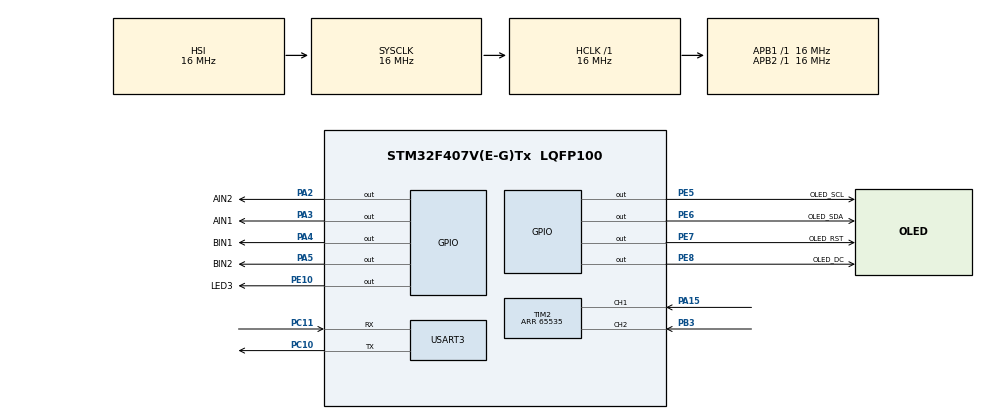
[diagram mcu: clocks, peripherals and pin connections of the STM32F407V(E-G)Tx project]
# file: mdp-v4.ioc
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FREERTOS.Tasks01=defaultTask,24,128,StartDefaultTask,Default,NULL,Dynamic,NULL,NULL;DisplayTask,8,128,Display,Default,NULL,Dynamic,NULL,NULL;Motor_L,8,128,LeftMotor,Default,NULL,Dynamic,NULL,NULL;Motor_R,8,128,RightMotor,Default,NULL,Dynamic,NULL,NULL;EncoderTask,8,128,EncoderL,Default,NULL,Dynamic,NULL,NULL
Mcu.Family=STM32F4
Mcu.Name=STM32F407V(E-G)Tx
Mcu.Package=LQFP100
NVIC.PriorityGroup=NVIC_PRIORITYGROUP_4
NVIC.USART3_IRQn=true\:5\:0\:false\:false\:true\:true\:true\:true\:true
PA15.Signal=S_TIM2_CH1_ETR
PA2.GPIO_Label=AIN2
PA2.Signal=GPIO_Output
PA3.GPIO_Label=AIN1
PA3.Signal=GPIO_Output
PA4.GPIO_Label=BIN1
PA4.Signal=GPIO_Output
PA5.GPIO_Label=BIN2
PA5.Signal=GPIO_Output
PB3.Signal=S_TIM2_CH2
PC10.Mode=Asynchronous
PC10.Signal=USART3_TX
PC11.Mode=Asynchronous
PC11.Signal=USART3_RX
PC6.GPIO_Label=PWMA
PC6.Signal=S_TIM8_CH1
PC7.GPIO_Label=PWMB
PC7.Signal=S_TIM8_CH2
PE10.GPIO_Label=LED3
PE10.Signal=GPIO_Output
PE14.GPIO_Label=Servo
PE14.Signal=S_TIM1_CH4
PE5.GPIO_Label=OLED_SCL
PE5.Signal=GPIO_Output
PE6.GPIO_Label=OLED_SDA
PE6.Signal=GPIO_Output
PE7.GPIO_Label=OLED_RST
PE7.Signal=GPIO_Output
PE8.GPIO_Label=OLED_DC
PE8.Signal=GPIO_Output
ProjectManager.HeapSize=0x200
ProjectManager.StackSize=0x400
ProjectManager.TargetToolchain=STM32CubeIDE
RCC.AHBFreq_Value=16000000
RCC.APB1Freq_Value=16000000
RCC.APB2Freq_Value=16000000
RCC.CortexFreq_Value=16000000
RCC.HSE_VALUE=25000000
RCC.HSI_VALUE=16000000
RCC.LSE_VALUE=32768
RCC.SYSCLKFreq_VALUE=16000000
RCC.VCOOutputFreq_Value=192000000
SH.S_TIM1_CH4.0=TIM1_CH4
SH.S_TIM2_CH1_ETR.0=TIM2_CH1,Encoder_Interface
SH.S_TIM2_CH2.0=TIM2_CH2,Encoder_Interface
SH.S_TIM8_CH1.0=TIM8_CH1
SH.S_TIM8_CH2.0=TIM8_CH2
TIM1.Channel-PWM\ Generation4\ No\ Output=TIM_CHANNEL_4
TIM1.Period=1000
TIM1.Prescaler=160
TIM2.EncoderMode=TIM_ENCODERMODE_TI12
TIM2.IC1Filter=10
TIM2.IC2Filter=10
TIM2.Period=65535
TIM8.Channel-PWM\ Generation1\ No\ Output=TIM_CHANNEL_1
TIM8.Channel-PWM\ Generation2\ No\ Output=TIM_CHANNEL_2
TIM8.Period=7199
USART3.VirtualMode=VM_ASYNC
VP_FREERTOS_VS_CMSIS_V2.Mode=CMSIS_V2
VP_TIM1_VS_ClockSourceINT.Mode=Internal
VP_TIM1_VS_no_output4.Mode=PWM Generation4 No Output
VP_TIM8_VS_ClockSourceINT.Mode=Internal
VP_TIM8_VS_no_output1.Mode=PWM Generation1 No Output
VP_TIM8_VS_no_output2.Mode=PWM Generation2 No Output
board=custom

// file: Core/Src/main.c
/* USER CODE BEGIN Header */
/**
  ******************************************************************************
  * @file           : main.c
  * @brief          : Main program body
  ******************************************************************************
  * @attention
  *
  * Copyright (c) 2022 STMicroelectronics.
  * All rights reserved.
  *
  * This software is licensed under terms that can be found in the LICENSE file
  * in the root directory of this software component.
  * If no LICENSE file comes with this software, it is provided AS-IS.
  *
  ******************************************************************************
  */
/* USER CODE END Header */
#include "main.h"
#include "cmsis_os.h"

/* USER CODE BEGIN Includes */
#include "oled.h"
/* USER CODE END Includes */

TIM_HandleTypeDef htim1;
TIM_HandleTypeDef htim2;
TIM_HandleTypeDef htim8;

UART_HandleTypeDef huart3;

/* Definitions for defaultTask */
osThreadId_t defaultTaskHandle;
const osThreadAttr_t defaultTask_attributes = {
  .name = "defaultTask",
  .stack_size = 128 * 4,
  .priority = (osPriority_t) osPriorityNormal,
};
/* Definitions for DisplayTask */
osThreadId_t DisplayTaskHandle;
const osThreadAttr_t DisplayTask_attributes = {
  .name = "DisplayTask",
  .stack_size = 128 * 4,
  .priority = (osPriority_t) osPriorityLow,
};
/* Definitions for Motor_L */
osThreadId_t Motor_LHandle;
const osThreadAttr_t Motor_L_attributes = {
  .name = "Motor_L",
  .stack_size = 128 * 4,
  .priority = (osPriority_t) osPriorityLow,
};
/* Definitions for Motor_R */
osThreadId_t Motor_RHandle;
const osThreadAttr_t Motor_R_attributes = {
  .name = "Motor_R",
  .stack_size = 128 * 4,
  .priority = (osPriority_t) osPriorityLow,
};
/* Definitions for EncoderTask */
osThreadId_t EncoderTaskHandle;
const osThreadAttr_t EncoderTask_attributes = {
  .name = "EncoderTask",
  .stack_size = 128 * 4,
  .priority = (osPriority_t) osPriorityLow,
};

void SystemClock_Config(void);
static void MX_GPIO_Init(void);
static void MX_TIM8_Init(void);
static void MX_TIM2_Init(void);
static void MX_TIM1_Init(void);
static void MX_USART3_UART_Init(void);
void StartDefaultTask(void *argument);
void Display(void *argument);
void LeftMotor(void *argument);
void RightMotor(void *argument);
void EncoderL(void *argument);

/* USER CODE BEGIN 0 */
uint8_t Buffer[5];

/* USER CODE END 0 */

int main(void)
{

  /* MCU Configuration--------------------------------------------------------*/

  /* Reset of all peripherals, Initializes the Flash interface and the Systick. */
  HAL_Init();

  /* Configure the system clock */
  SystemClock_Config();

  /* Initialize all configured peripherals */
  MX_GPIO_Init();
  MX_TIM8_Init();
  MX_TIM2_Init();
  MX_TIM1_Init();
  MX_USART3_UART_Init();
  /* USER CODE BEGIN 2 */
  OLED_Init();
  /* USER CODE END 2 */

  /* Init scheduler */
  osKernelInitialize();

  /* Create the thread(s) */
  /* creation of defaultTask */
  defaultTaskHandle = osThreadNew(StartDefaultTask, NULL, &defaultTask_attributes);

  /* creation of DisplayTask */
  DisplayTaskHandle = osThreadNew(Display, NULL, &DisplayTask_attributes);

  /* creation of Motor_L */
  Motor_LHandle = osThreadNew(LeftMotor, NULL, &Motor_L_attributes);

  /* creation of Motor_R */
  Motor_RHandle = osThreadNew(RightMotor, NULL, &Motor_R_attributes);

  /* creation of EncoderTask */
  EncoderTaskHandle = osThreadNew(EncoderL, NULL, &EncoderTask_attributes);

  /* Start scheduler */
  osKernelStart();

  /* We should never get here as control is now taken by the scheduler */
  /* Infinite loop */
  while (1)
  {

  }
}

void SystemClock_Config(void)
{
  RCC_OscInitTypeDef RCC_OscInitStruct = {0};
  RCC_ClkInitTypeDef RCC_ClkInitStruct = {0};

  /** Configure the main internal regulator output voltage
  */
  __HAL_RCC_PWR_CLK_ENABLE();
  __HAL_PWR_VOLTAGESCALING_CONFIG(PWR_REGULATOR_VOLTAGE_SCALE1);
  /** Initializes the RCC Oscillators according to the specified parameters
  * in the RCC_OscInitTypeDef structure.
  */
  RCC_OscInitStruct.OscillatorType = RCC_OSCILLATORTYPE_HSI;
  RCC_OscInitStruct.HSIState = RCC_HSI_ON;
  RCC_OscInitStruct.HSICalibrationValue = RCC_HSICALIBRATION_DEFAULT;
  RCC_OscInitStruct.PLL.PLLState = RCC_PLL_NONE;
  if (HAL_RCC_OscConfig(&RCC_OscInitStruct) != HAL_OK)
  {
    Error_Handler();
  }
  /** Initializes the CPU, AHB and APB buses clocks
  */
  RCC_ClkInitStruct.ClockType = RCC_CLOCKTYPE_HCLK|RCC_CLOCKTYPE_SYSCLK
                              |RCC_CLOCKTYPE_PCLK1|RCC_CLOCKTYPE_PCLK2;
  RCC_ClkInitStruct.SYSCLKSource = RCC_SYSCLKSOURCE_HSI;
  RCC_ClkInitStruct.AHBCLKDivider = RCC_SYSCLK_DIV1;
  RCC_ClkInitStruct.APB1CLKDivider = RCC_HCLK_DIV1;
  RCC_ClkInitStruct.APB2CLKDivider = RCC_HCLK_DIV1;

  if (HAL_RCC_ClockConfig(&RCC_ClkInitStruct, FLASH_LATENCY_0) != HAL_OK)
  {
    Error_Handler();
  }
}

static void MX_TIM1_Init(void)
{

  TIM_ClockConfigTypeDef sClockSourceConfig = {0};
  TIM_MasterConfigTypeDef sMasterConfig = {0};
  TIM_OC_InitTypeDef sConfigOC = {0};
  TIM_BreakDeadTimeConfigTypeDef sBreakDeadTimeConfig = {0};

  htim1.Instance = TIM1;
  htim1.Init.Prescaler = 160;
  htim1.Init.CounterMode = TIM_COUNTERMODE_UP;
  htim1.Init.Period = 1000;
  htim1.Init.ClockDivision = TIM_CLOCKDIVISION_DIV1;
  htim1.Init.RepetitionCounter = 0;
  htim1.Init.AutoReloadPreload = TIM_AUTORELOAD_PRELOAD_DISABLE;
  if (HAL_TIM_Base_Init(&htim1) != HAL_OK)
  {
    Error_Handler();
  }
  sClockSourceConfig.ClockSource = TIM_CLOCKSOURCE_INTERNAL;
  if (HAL_TIM_ConfigClockSource(&htim1, &sClockSourceConfig) != HAL_OK)
  {
    Error_Handler();
  }
  if (HAL_TIM_PWM_Init(&htim1) != HAL_OK)
  {
    Error_Handler();
  }
  sMasterConfig.MasterOutputTrigger = TIM_TRGO_RESET;
  sMasterConfig.MasterSlaveMode = TIM_MASTERSLAVEMODE_DISABLE;
  if (HAL_TIMEx_MasterConfigSynchronization(&htim1, &sMasterConfig) != HAL_OK)
  {
    Error_Handler();
  }
  sConfigOC.OCMode = TIM_OCMODE_PWM1;
  sConfigOC.Pulse = 0;
  sConfigOC.OCPolarity = TIM_OCPOLARITY_HIGH;
  sConfigOC.OCFastMode = TIM_OCFAST_DISABLE;
  sConfigOC.OCIdleState = TIM_OCIDLESTATE_RESET;
  sConfigOC.OCNIdleState = TIM_OCNIDLESTATE_RESET;
  if (HAL_TIM_PWM_ConfigChannel(&htim1, &sConfigOC, TIM_CHANNEL_4) != HAL_OK)
  {
    Error_Handler();
  }
  sBreakDeadTimeConfig.OffStateRunMode = TIM_OSSR_DISABLE;
  sBreakDeadTimeConfig.OffStateIDLEMode = TIM_OSSI_DISABLE;
  sBreakDeadTimeConfig.LockLevel = TIM_LOCKLEVEL_OFF;
  sBreakDeadTimeConfig.DeadTime = 0;
  sBreakDeadTimeConfig.BreakState = TIM_BREAK_DISABLE;
  sBreakDeadTimeConfig.BreakPolarity = TIM_BREAKPOLARITY_HIGH;
  sBreakDeadTimeConfig.AutomaticOutput = TIM_AUTOMATICOUTPUT_DISABLE;
  if (HAL_TIMEx_ConfigBreakDeadTime(&htim1, &sBreakDeadTimeConfig) != HAL_OK)
  {
    Error_Handler();
  }

}

static void MX_TIM2_Init(void)
{

  TIM_Encoder_InitTypeDef sConfig = {0};
  TIM_MasterConfigTypeDef sMasterConfig = {0};

  htim2.Instance = TIM2;
  htim2.Init.Prescaler = 0;
  htim2.Init.CounterMode = TIM_COUNTERMODE_UP;
  htim2.Init.Period = 65535;
  htim2.Init.ClockDivision = TIM_CLOCKDIVISION_DIV1;
  htim2.Init.AutoReloadPreload = TIM_AUTORELOAD_PRELOAD_DISABLE;
  sConfig.EncoderMode = TIM_ENCODERMODE_TI12;
  sConfig.IC1Polarity = TIM_ICPOLARITY_RISING;
  sConfig.IC1Selection = TIM_ICSELECTION_DIRECTTI;
  sConfig.IC1Prescaler = TIM_ICPSC_DIV1;
  sConfig.IC1Filter = 10;
  sConfig.IC2Polarity = TIM_ICPOLARITY_RISING;
  sConfig.IC2Selection = TIM_ICSELECTION_DIRECTTI;
  sConfig.IC2Prescaler = TIM_ICPSC_DIV1;
  sConfig.IC2Filter = 10;
  if (HAL_TIM_Encoder_Init(&htim2, &sConfig) != HAL_OK)
  {
    Error_Handler();
  }
  sMasterConfig.MasterOutputTrigger = TIM_TRGO_RESET;
  sMasterConfig.MasterSlaveMode = TIM_MASTERSLAVEMODE_DISABLE;
  if (HAL_TIMEx_MasterConfigSynchronization(&htim2, &sMasterConfig) != HAL_OK)
  {
    Error_Handler();
  }

}

static void MX_TIM8_Init(void)
{

  TIM_ClockConfigTypeDef sClockSourceConfig = {0};
  TIM_MasterConfigTypeDef sMasterConfig = {0};
  TIM_OC_InitTypeDef sConfigOC = {0};
  TIM_BreakDeadTimeConfigTypeDef sBreakDeadTimeConfig = {0};

  htim8.Instance = TIM8;
  htim8.Init.Prescaler = 0;
  htim8.Init.CounterMode = TIM_COUNTERMODE_UP;
  htim8.Init.Period = 7199;
  htim8.Init.ClockDivision = TIM_CLOCKDIVISION_DIV1;
  htim8.Init.RepetitionCounter = 0;
  htim8.Init.AutoReloadPreload = TIM_AUTORELOAD_PRELOAD_DISABLE;
  if (HAL_TIM_Base_Init(&htim8) != HAL_OK)
  {
    Error_Handler();
  }
  sClockSourceConfig.ClockSource = TIM_CLOCKSOURCE_INTERNAL;
  if (HAL_TIM_ConfigClockSource(&htim8, &sClockSourceConfig) != HAL_OK)
  {
    Error_Handler();
  }
  if (HAL_TIM_PWM_Init(&htim8) != HAL_OK)
  {
    Error_Handler();
  }
  sMasterConfig.MasterOutputTrigger = TIM_TRGO_RESET;
  sMasterConfig.MasterSlaveMode = TIM_MASTERSLAVEMODE_DISABLE;
  if (HAL_TIMEx_MasterConfigSynchronization(&htim8, &sMasterConfig) != HAL_OK)
  {
    Error_Handler();
  }
  sConfigOC.OCMode = TIM_OCMODE_PWM1;
  sConfigOC.Pulse = 0;
  sConfigOC.OCPolarity = TIM_OCPOLARITY_HIGH;
  sConfigOC.OCNPolarity = TIM_OCNPOLARITY_HIGH;
  sConfigOC.OCFastMode = TIM_OCFAST_DISABLE;
  sConfigOC.OCIdleState = TIM_OCIDLESTATE_RESET;
  sConfigOC.OCNIdleState = TIM_OCNIDLESTATE_RESET;
  if (HAL_TIM_PWM_ConfigChannel(&htim8, &sConfigOC, TIM_CHANNEL_1) != HAL_OK)
  {
    Error_Handler();
  }
  if (HAL_TIM_PWM_ConfigChannel(&htim8, &sConfigOC, TIM_CHANNEL_2) != HAL_OK)
  {
    Error_Handler();
  }
  sBreakDeadTimeConfig.OffStateRunMode = TIM_OSSR_DISABLE;
  sBreakDeadTimeConfig.OffStateIDLEMode = TIM_OSSI_DISABLE;
  sBreakDeadTimeConfig.LockLevel = TIM_LOCKLEVEL_OFF;
  sBreakDeadTimeConfig.DeadTime = 0;
  sBreakDeadTimeConfig.BreakState = TIM_BREAK_DISABLE;
  sBreakDeadTimeConfig.BreakPolarity = TIM_BREAKPOLARITY_HIGH;
  sBreakDeadTimeConfig.AutomaticOutput = TIM_AUTOMATICOUTPUT_DISABLE;
  if (HAL_TIMEx_ConfigBreakDeadTime(&htim8, &sBreakDeadTimeConfig) != HAL_OK)
  {
    Error_Handler();
  }

}

static void MX_USART3_UART_Init(void)
{

  huart3.Instance = USART3;
  huart3.Init.BaudRate = 115200;
  huart3.Init.WordLength = UART_WORDLENGTH_8B;
  huart3.Init.StopBits = UART_STOPBITS_1;
  huart3.Init.Parity = UART_PARITY_NONE;
  huart3.Init.Mode = UART_MODE_TX_RX;
  huart3.Init.HwFlowCtl = UART_HWCONTROL_NONE;
  huart3.Init.OverSampling = UART_OVERSAMPLING_16;
  if (HAL_UART_Init(&huart3) != HAL_OK)
  {
    Error_Handler();
  }

}

static void MX_GPIO_Init(void)
{
  GPIO_InitTypeDef GPIO_InitStruct = {0};

  /* GPIO Ports Clock Enable */
  __HAL_RCC_GPIOE_CLK_ENABLE();
  __HAL_RCC_GPIOA_CLK_ENABLE();
  __HAL_RCC_GPIOC_CLK_ENABLE();
  __HAL_RCC_GPIOB_CLK_ENABLE();

  /*Configure GPIO pin Output Level */
  HAL_GPIO_WritePin(GPIOE, OLED_SCL_Pin|OLED_SDA_Pin|OLED_RST_Pin|OLED_DC_Pin
                          |LED3_Pin, GPIO_PIN_RESET);

  /*Configure GPIO pin Output Level */
  HAL_GPIO_WritePin(GPIOA, AIN2_Pin|AIN1_Pin|BIN1_Pin|BIN2_Pin, GPIO_PIN_RESET);

  /*Configure GPIO pins : OLED_SCL_Pin OLED_SDA_Pin OLED_RST_Pin OLED_DC_Pin
                           LED3_Pin */
  GPIO_InitStruct.Pin = OLED_SCL_Pin|OLED_SDA_Pin|OLED_RST_Pin|OLED_DC_Pin
                          |LED3_Pin;
  GPIO_InitStruct.Mode = GPIO_MODE_OUTPUT_PP;
  GPIO_InitStruct.Pull = GPIO_NOPULL;
  GPIO_InitStruct.Speed = GPIO_SPEED_FREQ_LOW;
  HAL_GPIO_Init(GPIOE, &GPIO_InitStruct);

  /*Configure GPIO pins : AIN2_Pin AIN1_Pin BIN1_Pin BIN2_Pin */
  GPIO_InitStruct.Pin = AIN2_Pin|AIN1_Pin|BIN1_Pin|BIN2_Pin;
  GPIO_InitStruct.Mode = GPIO_MODE_OUTPUT_PP;
  GPIO_InitStruct.Pull = GPIO_NOPULL;
  GPIO_InitStruct.Speed = GPIO_SPEED_FREQ_LOW;
  HAL_GPIO_Init(GPIOA, &GPIO_InitStruct);

}

void StartDefaultTask(void *argument)
{
  /* USER CODE BEGIN 5 */
  uint8_t hello[20];
  /* Infinite loop */
  for(;;)
  {
	HAL_UART_Receive_IT(&huart3,(uint8_t *) Buffer,5);
	sprintf(hello, "buff:%s", Buffer);
	OLED_ShowString(10,20,hello);
	HAL_GPIO_TogglePin(LED3_GPIO_Port,LED3_Pin);
    osDelay(1);
  }
  /* USER CODE END 5 */
}

void Display(void *argument)
{
  /* USER CODE BEGIN Display */
  uint8_t hello[20] = "test1!\0";
  /* Infinite loop */
  for(;;)
  {
	OLED_ShowString(10,10,hello);
	OLED_Refresh_Gram();
    osDelay(1);
  }
  /* USER CODE END Display */
}

void LeftMotor(void *argument)
{
  /* USER CODE BEGIN LeftMotor */
  uint16_t pwmVal = 1500, pwmVal_S = 1500, pwmVal_L = 1500;
  HAL_TIM_PWM_Start(&htim8,TIM_CHANNEL_1);
  HAL_TIM_PWM_Start(&htim8,TIM_CHANNEL_2);
  HAL_TIM_PWM_Start(&htim1,TIM_CHANNEL_4);
  HAL_TIM_Encoder_Start(&htim2, TIM_CHANNEL_ALL);

  int cnt1, cnt2, pulse;
  uint32_t tick, dist, angle, pulseneeded, pulsetotal;
  uint8_t hello[20];

  cnt1 = __HAL_TIM_GET_COUNTER(&htim2);
  tick = HAL_GetTick();
  dist = 30;
  angle = 45;

  int value;
  /* Infinite loop */
  for(;;){
	  value = (Buffer[2] - '0')*100 + (Buffer[3] - '0')*10 + Buffer[2] - '0';
	  dist = value;
	  angle = value;
	  if(Buffer[0] == 'F'){
		  HAL_GPIO_WritePin(GPIOA, AIN2_Pin, GPIO_PIN_RESET);
		  HAL_GPIO_WritePin(GPIOA, AIN1_Pin, GPIO_PIN_SET);
		  HAL_GPIO_WritePin(GPIOA, BIN2_Pin, GPIO_PIN_RESET);
		  HAL_GPIO_WritePin(GPIOA, BIN1_Pin, GPIO_PIN_SET);
	  }
	  else if(Buffer[0] == 'B'){
		  HAL_GPIO_WritePin(GPIOA, AIN1_Pin, GPIO_PIN_RESET);
		  HAL_GPIO_WritePin(GPIOA, AIN2_Pin, GPIO_PIN_SET);
		  HAL_GPIO_WritePin(GPIOA, BIN1_Pin, GPIO_PIN_RESET);
		  HAL_GPIO_WritePin(GPIOA, BIN2_Pin, GPIO_PIN_SET);
	  }
	  else{
		  __HAL_TIM_SetCompare(&htim8,TIM_CHANNEL_1,0);
		  __HAL_TIM_SetCompare(&htim8,TIM_CHANNEL_2,0);
		  continue;
	  }
	  switch(Buffer[1]){
	  case 'L':
		  htim1.Instance ->CCR4 = 90;
		  osDelay(300);
		  pulseneeded = angle*0.35*59;
		  __HAL_TIM_SetCompare(&htim8,TIM_CHANNEL_1,pwmVal_S);
		  __HAL_TIM_SetCompare(&htim8,TIM_CHANNEL_2,pwmVal_L);
		  break;
	  case 'R':
		  htim1.Instance ->CCR4 = 202;
		  osDelay(300);
		  pulseneeded = angle*0.35*59;
		  __HAL_TIM_SetCompare(&htim8,TIM_CHANNEL_1,pwmVal_L);
		  __HAL_TIM_SetCompare(&htim8,TIM_CHANNEL_2,pwmVal_S);
		  break;
	  default:
		  htim1.Instance ->CCR4 = 147;
		  osDelay(300);
		  pulseneeded = dist*60;
		  __HAL_TIM_SetCompare(&htim8,TIM_CHANNEL_1,pwmVal);
		  __HAL_TIM_SetCompare(&htim8,TIM_CHANNEL_2,pwmVal);
		  break;
	  }
	  pulsetotal = 0;
	  do{
		  if(HAL_GetTick()-tick > 50L){
				sprintf(hello, "pulse:%5d\0", pulseneeded);
				OLED_ShowString(10,30,hello);

				cnt2 = __HAL_TIM_GET_COUNTER(&htim2);
				if(__HAL_TIM_IS_TIM_COUNTING_DOWN(&htim2)){
					if(cnt2<cnt1)
					{
						pulse = cnt1 - cnt2;
						sprintf(hello, "total1:%5d\0", pulsetotal);
					}
					else
					{
						pulse = (65535 - cnt2) + cnt1;
						sprintf(hello, "total2:%5d\0", pulsetotal);
					}
				}
				else{
					if(cnt2>cnt1)
					{
						pulse = cnt2 - cnt1;
						sprintf(hello, "total3:%5d\0", pulsetotal);
					}
					else
					{
						pulse = (65535 - cnt1) + cnt2;
						sprintf(hello, "total4:%5d\0", pulsetotal);
					}
				}
				pulsetotal = (pulsetotal + pulse)%65535;
				OLED_ShowString(10,40,hello);
				cnt1 = __HAL_TIM_GET_COUNTER(&htim2);
				tick = HAL_GetTick();
		  }
	  }while(pulsetotal < pulseneeded);
	  Buffer[0] = 'd';
	  __HAL_TIM_SetCompare(&htim8,TIM_CHANNEL_1,0);
	  __HAL_TIM_SetCompare(&htim8,TIM_CHANNEL_2,0);
	  osDelay(300);
	  HAL_UART_Transmit(&huart3, "R", sizeof("R"), HAL_MAX_DELAY);

	  /*
	  htim1.Instance ->CCR4 = 90;
	  //pulseneeded = dist*60;
	  pulseneeded = angle*0.35*59;
	  pulsetotal = 0;
	  x = 0;
	  //start up both wheels
	  HAL_GPIO_WritePin(GPIOA, AIN2_Pin, GPIO_PIN_RESET);
	  HAL_GPIO_WritePin(GPIOA, AIN1_Pin, GPIO_PIN_SET);
	  HAL_GPIO_WritePin(GPIOA, BIN2_Pin, GPIO_PIN_RESET);
	  HAL_GPIO_WritePin(GPIOA, BIN1_Pin, GPIO_PIN_SET);
	  __HAL_TIM_SetCompare(&htim8,TIM_CHANNEL_1,pwmVal);
	  __HAL_TIM_SetCompare(&htim8,TIM_CHANNEL_2,pwmVal);

	  while(pulsetotal < pulseneeded){
		  if(HAL_GetTick()-tick > 100L){
		  		cnt2 = __HAL_TIM_GET_COUNTER(&htim2);
		  		if(__HAL_TIM_IS_TIM_COUNTING_DOWN(&htim2)){
		  			if(cnt2<cnt1)
		  				pulse = cnt1 - cnt2;
		  			else
		  				pulse = (65535 - cnt2) + cnt1;
		  		}
		  		else{
		  			if(cnt2>cnt1)
		  				pulse = cnt2 - cnt1;
		  			else
		  				pulse = (65535 - cnt1) + cnt2;
		  		}
		  		pulsetotal +=pulse;
		  		sprintf(hello, "pulse:%5d\0", pulse);
		  		OLED_ShowString(10,20,hello);
		  		sprintf(hello, "total:%5d\0", pulsetotal);
		  		OLED_ShowString(10,30,hello);
		  		cnt1 = __HAL_TIM_GET_COUNTER(&htim2);
		  		tick = HAL_GetTick();
		  	}

	  }
	  htim1.Instance ->CCR4 = 147;
	  osDelay(1000);
	  HAL_TIM_PWM_Stop(&htim8,TIM_CHANNEL_1);
	  HAL_TIM_PWM_Stop(&htim8,TIM_CHANNEL_2);
	  HAL_TIM_PWM_Stop(&htim1,TIM_CHANNEL_4);
	  */

  }
  /* USER CODE END LeftMotor */
}

void RightMotor(void *argument)
{
  for(;;)
  {
  }
}

void EncoderL(void *argument)
{
  for(;;)
  {
    osDelay(1);
  }
}

void Error_Handler(void)
{
  __disable_irq();
  while (1)
  {
  }
}
